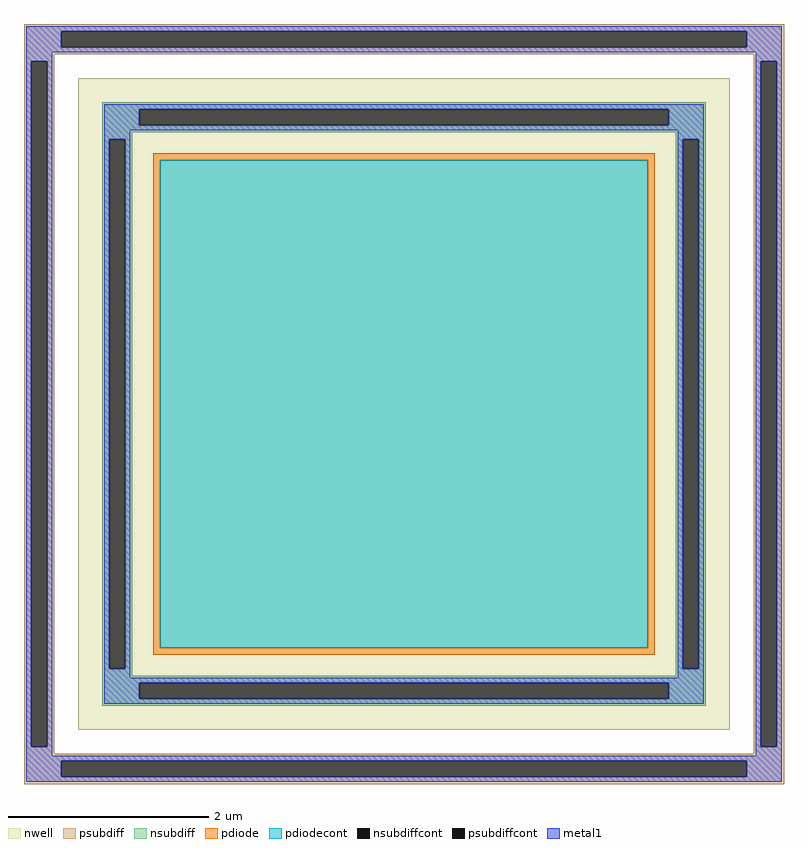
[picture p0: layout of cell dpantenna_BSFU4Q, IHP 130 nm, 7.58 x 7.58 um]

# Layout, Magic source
magic
tech ihp-sg13g2
<< nwell >>
rect -325 -325 325 325
<< psubdiff >>
rect -379 372 379 379
rect -379 356 -342 372
rect 342 356 379 372
rect -379 349 379 356
rect -379 342 -349 349
rect -379 -342 -372 342
rect -356 -342 -349 342
rect 349 342 379 349
rect -379 -349 -349 -342
rect 349 -342 356 342
rect 372 -342 379 342
rect 349 -349 379 -342
rect -379 -356 379 -349
rect -379 -372 -342 -356
rect 342 -372 379 -356
rect -379 -379 379 -372
<< nsubdiff >>
rect -301 294 301 301
rect -301 278 -264 294
rect 264 278 301 294
rect -301 271 301 278
rect -301 264 -271 271
rect -301 -264 -294 264
rect -278 -264 -271 264
rect 271 264 301 271
rect -301 -271 -271 -264
rect 271 -264 278 264
rect 294 -264 301 264
rect 271 -271 301 -264
rect -301 -278 301 -271
rect -301 -294 -264 -278
rect 264 -294 301 -278
rect -301 -301 301 -294
<< psubdiffcont >>
rect -342 356 342 372
rect -372 -342 -356 342
rect 356 -342 372 342
rect -342 -372 342 -356
<< nsubdiffcont >>
rect -264 278 264 294
rect -294 -264 -278 264
rect 278 -264 294 264
rect -264 -294 264 -278
<< pdiode >>
rect -250 243 250 250
rect -250 -243 -243 243
rect 243 -243 250 243
rect -250 -250 250 -243
<< pdiodecont >>
rect -243 -243 243 243
<< metal1 >>
rect -377 372 377 377
rect -377 356 -342 372
rect 342 356 377 372
rect -377 351 377 356
rect -377 342 -351 351
rect -377 -342 -372 342
rect -356 -342 -351 342
rect 351 342 377 351
rect -299 294 299 299
rect -299 278 -264 294
rect 264 278 299 294
rect -299 273 299 278
rect -299 264 -273 273
rect -299 -264 -294 264
rect -278 -264 -273 264
rect 273 264 299 273
rect -299 -273 -273 -264
rect 273 -264 278 264
rect 294 -264 299 264
rect 273 -273 299 -264
rect -299 -278 299 -273
rect -299 -294 -264 -278
rect 264 -294 299 -278
rect -299 -299 299 -294
rect -377 -351 -351 -342
rect 351 -342 356 342
rect 372 -342 377 342
rect 351 -351 377 -342
rect -377 -356 377 -351
rect -377 -372 -342 -356
rect 342 -372 377 -356
rect -377 -377 377 -372
<< properties >>
string gencell dpantenna
string library sg13g2_devstdin
string parameters w 5 l 5 nx 1 dx 0.18 ny 1 dy 0.18 wmin 0.50 lmin 0.50 class diode contcov 0 glc 1 grc 1 gtc 1 gbc 1
<< end >>
